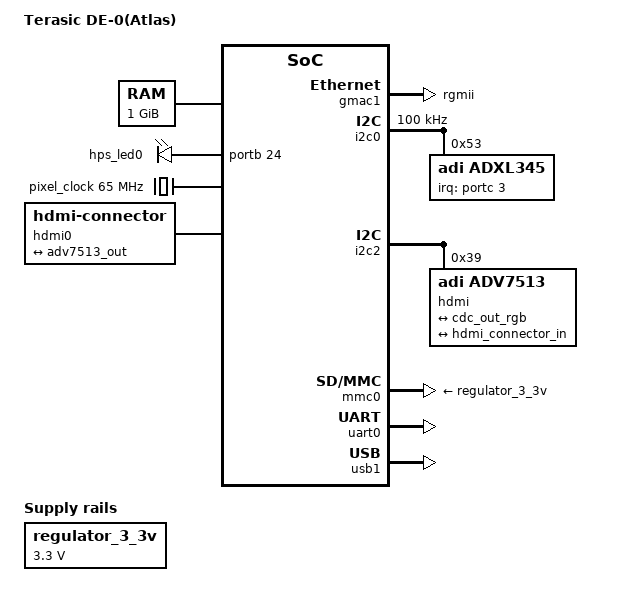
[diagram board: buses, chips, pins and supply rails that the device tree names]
/*
 * Copyright Altera Corporation (C) 2015. All rights reserved.
 *
 * This program is free software; you can redistribute it and/or modify
 * it under the terms and conditions of the GNU General Public License,
 * version 2, as published by the Free Software Foundation.
 *
 * This program is distributed in the hope it will be useful, but WITHOUT
 * ANY WARRANTY; without even the implied warranty of MERCHANTABILITY or
 * FITNESS FOR A PARTICULAR PURPOSE.  See the GNU General Public License for
 * more details.
 *
 * You should have received a copy of the GNU General Public License along with
 * this program.  If not, see <http://www.gnu.org/licenses/>.
 */

#include "socfpga_cyclone5.dtsi"

/ {
	model = "Terasic DE-0(Atlas)";
	compatible = "terasic,de0-atlas", "altr,socfpga-cyclone5", "altr,socfpga";

	chosen {
		bootargs = "earlyprintk";
		stdout-path = "serial0:115200n8";
	};

	memory@0 {
		name = "memory";
		device_type = "memory";
		reg = <0x0 0x40000000>; /* 1GB */
	};

	aliases {
		ethernet0 = &gmac1;
	};

	regulator_3_3v: 3-3-v-regulator {
		compatible = "regulator-fixed";
		regulator-name = "3.3V";
		regulator-min-microvolt = <3300000>;
		regulator-max-microvolt = <3300000>;
	};

	leds {
		compatible = "gpio-leds";
		hps0 {
			label = "hps_led0";
			gpios = <&portb 24 0>;
			linux,default-trigger = "heartbeat";
		};
	};

	soc{
		base-fpga-region {
			ranges = <0x00000000 0xff200000 0x004000
				  0x00004000 0xff204000 0x002000
				  0x00007000 0xff207000 0x000100>;

			tes_dhd_0: gpu@0 {
				compatible = "tes,tes_dhd-1.0", "tes,dhd-1.0";
				reg = <0x00000000 0x00004000>;
				
				interrupt-parent = <&intc>;
				interrupts = <0 41 4>;
			};

			tes_cdc_0: lcd_controller@4000 {
				compatible = "tes,tes_cdc-2.1", "tes,cdc-2.1";
				reg = <0x00004000 0x00002000>;

				interrupt-parent = <&intc>;
				interrupts = <0 40 4>;
				stream_dev = <&tes_fbd_0 0>;
				//stream_dev = <&tes_dsw_0 0>;
				clocks = <&pixel_clock>;

				max-clock-frequency = <108000000>;
				
				ports {
					port@0 {
						cdc_out_rgb: endpoint {
							remote-endpoint = <&adv7513_in>;
						};
					};
				};
			}; //end lcd_controller@0x00000000 (tes_cdc_0)

			tes_fbd_0: video@7000 {
				compatible = "tes,tes_fbd-1.0", "tes,fbd-1.0";
				reg = <0x00007000 0x00000100>;
				
				interrupt-parent = <&intc>;
				interrupts = <0 42 4>;
			};

			pixel_clock: oscillator {
				compatible = "fixed-clock";
				#clock-cells = <0>;
				clock-frequency = <65000000>;
			};
		};
	};

	hdmi0: connector {
		compatible = "hdmi-connector";
		type = "a";
		port {
			hdmi_connector_in: endpoint {
				remote-endpoint = <&adv7513_out>;
			};
		};
	};
};

&gmac1 {
	status = "okay";
	phy-mode = "rgmii";

	txd0-skew-ps = <0>; /* -420ps */
	txd1-skew-ps = <0>; /* -420ps */
	txd2-skew-ps = <0>; /* -420ps */
	txd3-skew-ps = <0>; /* -420ps */
	rxd0-skew-ps = <420>; /* 0ps */
	rxd1-skew-ps = <420>; /* 0ps */
	rxd2-skew-ps = <420>; /* 0ps */
	rxd3-skew-ps = <420>; /* 0ps */
	txen-skew-ps = <0>; /* -420ps */
	txc-skew-ps = <1860>; /* 960ps */
	rxdv-skew-ps = <420>; /* 0ps */
	rxc-skew-ps = <1680>; /* 780ps */

	max-frame-size = <3800>;
};

&gpio0 {
	status = "okay";
};

&gpio1 {
	status = "okay";
};

&gpio2 {
	status = "okay";
};

&i2c0 {
	status = "okay";
	clock-frequency = <100000>;

	adxl345: adxl345@0 {
		compatible = "adi,adxl345";
		reg = <0x53>;

		interrupt-parent = <&portc>;
		interrupts = <3 2>;
	};
};

&i2c2 {
	status = "okay";
	speed-mode = <0>;

	hdmi@39 {
		compatible = "adi,adv7513";
		reg = <0x39>;
		//interrupt-parent = <&portb>;
		//interrupts = <15 IRQ_TYPE_EDGE_FALLING>;
		
		adi,input-depth = <8>;
		adi,input-colorspace = "rgb";
		adi,input-clock = "1x";
		adi,input-style = <1>;
		
		ports {
			#address-cells = <1>;
			#size-cells = <0>;
		
			port@0 {
				reg = <0>;
				adv7513_in: endpoint {
					remote-endpoint = <&cdc_out_rgb>;
				};
			};
		
			port@1 {
				reg = <1>;
				adv7513_out: endpoint {
					remote-endpoint = <&hdmi_connector_in>;
				};
			};
		};
	};
};

&mmc0 {
	vmmc-supply = <&regulator_3_3v>;
	vqmmc-supply = <&regulator_3_3v>;
	status = "okay";
};

&uart0 {
	status = "okay";
};

&usb1 {
	status = "okay";
};
